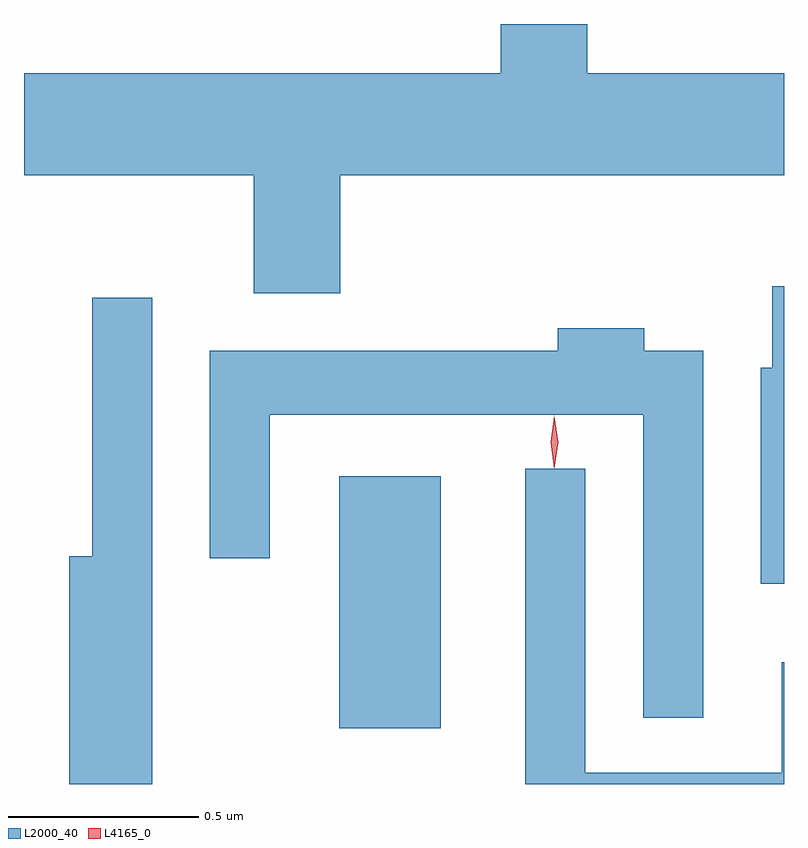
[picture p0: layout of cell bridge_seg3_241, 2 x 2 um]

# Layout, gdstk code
import gdstk
lib = gdstk.Library(unit=1e-6, precision=1e-09)
def R(c, l, rs):  # rectangles x0, y0, x1, y1
    for r in rs: c.add(gdstk.rectangle(r[:2], r[2:], *l))
def P(c, l, *ps):  # polygons
    for p in ps: c.add(gdstk.Polygon(p, *l))
L2000_40 = (2000, 40)
L4165_0 = (4165, 0)

bridge_seg3_241 = lib.new_cell('bridge_seg3_241')
R(bridge_seg3_241, L2000_40, [(975.616,1120.121,975.884,1120.784)])
P(bridge_seg3_241, L2000_40, [(975.619,1121.576),(976.787,1121.576),(976.787,1121.844),(976.269,1121.844),(976.269,1121.974),(976.041,1121.974),(976.041,1121.844),(974.787,1121.844),(974.787,1121.576),(975.391,1121.576),(975.391,1121.266),(975.619,1121.266)],
  [(976.787,1121.284),(976.756,1121.284),(976.756,1121.069),(976.726,1121.069),(976.726,1120.501),(976.787,1120.501)],
  [(975.124,1121.253),(974.966,1121.253),(974.966,1120.574),(974.906,1120.574),(974.906,1119.974),(975.124,1119.974)],
  [(976.574,1121.114),(976.419,1121.114),(976.419,1121.174),(976.191,1121.174),(976.191,1121.114),(975.276,1121.114),(975.276,1120.568),(975.434,1120.568),(975.434,1120.946),(976.416,1120.946),(976.416,1120.148),(976.574,1120.148)],
  [(976.787,1120.294),(976.781,1120.294),(976.781,1120.004),(976.264,1120.004),(976.264,1120.803),(976.106,1120.803),(976.106,1119.974),(976.787,1119.974)])
P(bridge_seg3_241, L4165_0, [(976.183,1120.803),(976.182,1120.804),(976.173,1120.873),(976.182,1120.942),(976.183,1120.943),(976.183,1120.942),(976.193,1120.873),(976.183,1120.804)])

lib.write_gds('bridge_seg3_241.gds')
